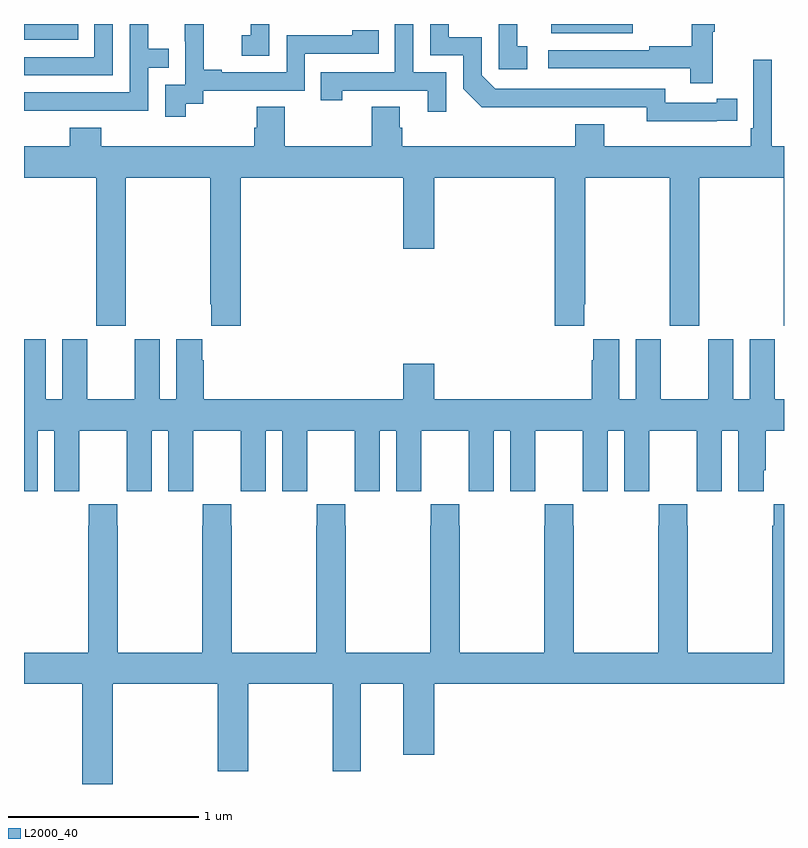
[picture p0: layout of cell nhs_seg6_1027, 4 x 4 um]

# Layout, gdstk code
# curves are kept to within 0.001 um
import gdstk
lib = gdstk.Library(unit=1e-6, precision=1e-09)
def R(c, l, rs):  # rectangles x0, y0, x1, y1
    for r in rs: c.add(gdstk.rectangle(r[:2], r[2:], *l))
def P(c, l, *ps):  # polygons
    for p in ps: c.add(gdstk.Polygon(p, *l))
L2000_40 = (2000, 40)

nhs_seg6_1027 = lib.new_cell('nhs_seg6_1027')
R(nhs_seg6_1027, L2000_40, [(175,925.418,175.286,925.5), (177.776,925.451,178.204,925.5)])
P(nhs_seg6_1027, L2000_40, [(177.222,925.245),(177.048,925.245),(177.048,925.5),(176.952,925.5),(176.952,925.245),(176.563,925.245),(176.563,925.098),(176.674,925.098),(176.674,925.149),(177.125,925.149),(177.125,925.038),(177.222,925.038)],
  [(175.157,925.044),(175.653,925.044),(175.653,925.269),(175.763,925.269),(175.763,925.37),(175.653,925.37),(175.653,925.5),(175.557,925.5),(175.557,925.14),(175,925.14),(175,925.043),(175.157,925.043)],
  [(177.649,925.383),(177.596,925.383),(177.596,925.5),(177.498,925.5),(177.498,925.263),(177.649,925.263)],
  [(175.852,925.081),(175.944,925.081),(175.944,925.149),(176.478,925.149),(176.478,925.344),(176.867,925.344),(176.867,925.467),(176.727,925.467),(176.727,925.44),(176.382,925.44),(176.382,925.245),(176.041,925.245),(176.041,925.258),(175.946,925.258),(175.946,925.5),(175.847,925.5),(175.847,925.409),(175.848,925.409),(175.848,925.179),(175.743,925.179),(175.743,925.011),(175.852,925.011)],
  [(175.467,925.5),(175.371,925.5),(175.371,925.326),(175,925.326),(175,925.23),(175.467,925.23)],
  [(178.625,925.459),(178.636,925.459),(178.636,925.5),(178.515,925.5),(178.515,925.382),(178.291,925.382),(178.291,925.362),(177.759,925.362),(177.759,925.266),(178.507,925.266),(178.507,925.188),(178.625,925.188)],
  [(176.292,925.5),(176.194,925.5),(176.194,925.441),(176.145,925.441),(176.145,925.332),(176.292,925.332)],
  [(178.646,924.99),(178.754,924.99),(178.754,925.106),(178.646,925.106),(178.646,925.086),(178.374,925.086),(178.374,925.158),(177.48,925.158),(177.408,925.23),(177.408,925.431),(177.235,925.431),(177.235,925.5),(177.138,925.5),(177.138,925.335),(177.312,925.335),(177.312,925.158),(177.41,925.061),(178.278,925.062),(178.278,924.989)],
  [(175.536,924.692),(175.981,924.692),(175.981,924.025),(175.985,924.025),(175.985,923.913),(176.141,923.913),(176.141,924.692),(176.996,924.692),(176.996,924.318),(177.16,924.318),(177.16,924.692),(177.794,924.692),(177.794,923.913),(177.949,923.913),(177.949,924.025),(177.954,924.025),(177.954,924.692),(178.399,924.692),(178.399,923.913),(178.554,923.913),(178.554,924.692),(178.999,924.692),(178.999,923.913),(179,923.913),(179,924.856),(178.936,924.856),(178.936,925.312),(178.839,925.312),(178.839,924.952),(178.826,924.952),(178.826,924.856),(178.054,924.856),(178.054,924.973),(177.902,924.973),(177.902,924.856),(176.99,924.856),(176.99,924.954),(176.977,924.954),(176.977,925.064),(176.83,925.064),(176.83,924.856),(176.373,924.856),(176.373,925.064),(176.225,925.064),(176.225,924.954),(176.213,924.954),(176.213,924.856),(175.406,924.856),(175.406,924.955),(175.241,924.955),(175.241,924.856),(175,924.856),(175,924.692),(175.381,924.692),(175.381,923.913),(175.536,923.913)],
  [(175.072,923.36),(175.16,923.36),(175.16,923.04),(175.29,923.04),(175.29,923.152),(175.291,923.152),(175.291,923.36),(175.541,923.36),(175.541,923.152),(175.542,923.152),(175.542,923.04),(175.672,923.04),(175.672,923.36),(175.76,923.36),(175.76,923.04),(175.89,923.04),(175.89,923.152),(175.891,923.152),(175.891,923.36),(176.141,923.36),(176.141,923.152),(176.142,923.152),(176.142,923.04),(176.272,923.04),(176.272,923.36),(176.36,923.36),(176.36,923.04),(176.49,923.04),(176.49,923.152),(176.491,923.152),(176.491,923.36),(176.741,923.36),(176.741,923.152),(176.742,923.152),(176.742,923.04),(176.872,923.04),(176.872,923.36),(176.96,923.36),(176.96,923.04),(177.09,923.04),(177.09,923.152),(177.091,923.152),(177.091,923.36),(177.341,923.36),(177.341,923.152),(177.342,923.152),(177.342,923.04),(177.472,923.04),(177.472,923.36),(177.56,923.36),(177.56,923.04),(177.69,923.04),(177.69,923.152),(177.691,923.152),(177.691,923.36),(177.941,923.36),(177.941,923.152),(177.942,923.152),(177.942,923.04),(178.072,923.04),(178.072,923.36),(178.16,923.36),(178.16,923.04),(178.29,923.04),(178.29,923.152),(178.291,923.152),(178.291,923.36),(178.541,923.36),(178.541,923.152),(178.542,923.152),(178.542,923.04),(178.672,923.04),(178.672,923.36),(178.76,923.36),(178.76,923.04),(178.894,923.04),(178.894,923.152),(178.904,923.152),(178.904,923.36),(179,923.36),(179,923.524),(178.951,923.524),(178.951,923.842),(178.82,923.842),(178.82,923.524),(178.732,923.524),(178.732,923.842),(178.601,923.842),(178.601,923.524),(178.351,923.524),(178.351,923.842),(178.22,923.842),(178.22,923.524),(178.132,923.524),(178.132,923.842),(177.995,923.842),(177.995,923.729),(177.989,923.729),(177.989,923.524),(177.16,923.524),(177.16,923.713),(176.996,923.713),(176.996,923.524),(175.946,923.524),(175.946,923.729),(175.939,923.729),(175.939,923.842),(175.802,923.842),(175.802,923.524),(175.714,923.524),(175.714,923.842),(175.583,923.842),(175.583,923.524),(175.333,923.524),(175.333,923.842),(175.202,923.842),(175.202,923.524),(175.114,923.524),(175.114,923.842),(175,923.842),(175,923.04),(175.072,923.04)],
  [(179,922.972),(178.945,922.972),(178.945,922.859),(178.939,922.859),(178.939,922.192),(178.494,922.192),(178.494,922.859),(178.491,922.859),(178.491,922.972),(178.341,922.972),(178.341,922.859),(178.339,922.859),(178.339,922.192),(177.894,922.192),(177.894,922.859),(177.891,922.859),(177.891,922.972),(177.741,922.972),(177.741,922.859),(177.739,922.859),(177.739,922.192),(177.294,922.192),(177.294,922.859),(177.291,922.859),(177.291,922.972),(177.141,922.972),(177.141,922.859),(177.139,922.859),(177.139,922.192),(176.694,922.192),(176.694,922.859),(176.691,922.859),(176.691,922.972),(176.541,922.972),(176.541,922.859),(176.539,922.859),(176.539,922.192),(176.094,922.192),(176.094,922.859),(176.091,922.859),(176.091,922.972),(175.941,922.972),(175.941,922.859),(175.939,922.859),(175.939,922.192),(175.494,922.192),(175.494,922.859),(175.491,922.859),(175.491,922.972),(175.341,922.972),(175.341,922.859),(175.339,922.859),(175.339,922.192),(175,922.192),(175,922.028),(175.306,922.028),(175.306,921.5),(175.466,921.5),(175.466,922.028),(176.021,922.028),(176.021,921.567),(176.181,921.567),(176.181,922.028),(176.626,922.028),(176.626,921.567),(176.773,921.567),(176.773,922.028),(176.996,922.028),(176.996,921.654),(177.16,921.654),(177.16,922.028),(179,922.028)])

lib.write_gds('nhs_seg6_1027.gds')
